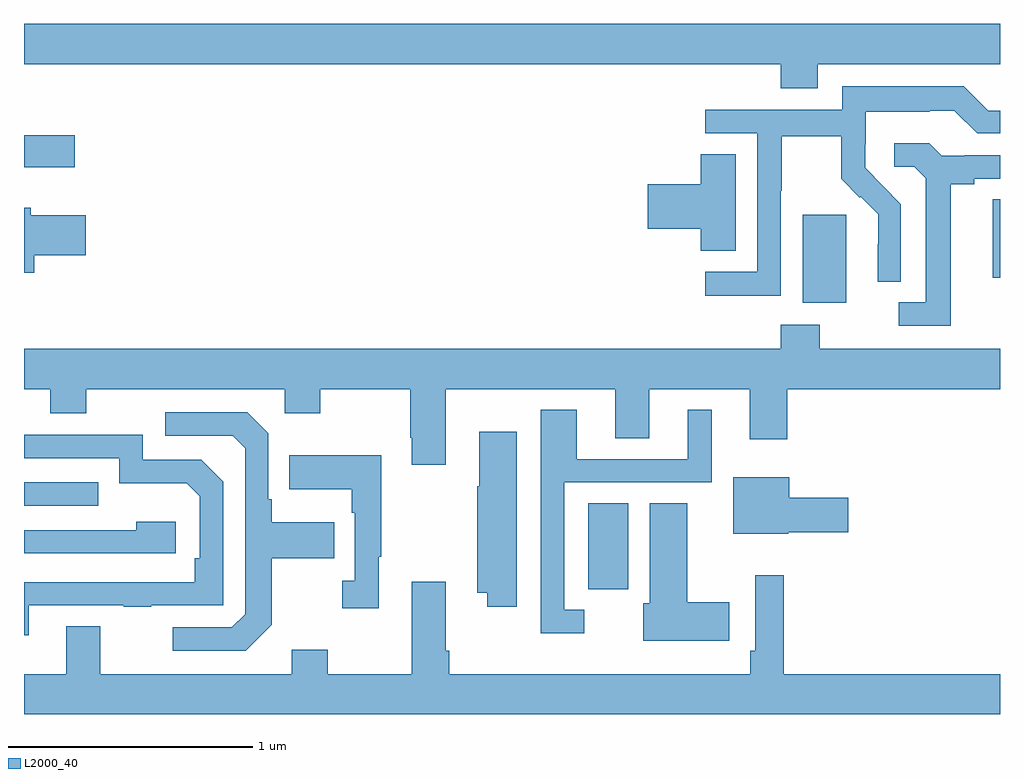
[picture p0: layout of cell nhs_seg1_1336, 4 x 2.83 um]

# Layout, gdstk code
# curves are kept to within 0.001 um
import gdstk
lib = gdstk.Library(unit=1e-6, precision=1e-09)
def R(c, l, rs):  # rectangles x0, y0, x1, y1
    for r in rs: c.add(gdstk.rectangle(r[:2], r[2:], *l))
def P(c, l, *ps):  # polygons
    for p in ps: c.add(gdstk.Polygon(p, *l))
L2000_40 = (2000, 40)

nhs_seg1_1336 = lib.new_cell('nhs_seg1_1336')
R(nhs_seg1_1336, L2000_40, [(185.312,562.899,185.476,563.252), (183,563.241,183.305,563.337), (186.191,564.074,186.37,564.435), (186.971,564.177,187,564.497), (183,564.629,183.208,564.759)])
P(nhs_seg1_1336, L2000_40, [(186.253,565.052),(187,565.052),(187,565.216),(183,565.216),(183,565.052),(186.101,565.052),(186.101,564.953),(186.253,564.953)],
  [(186.102,564.532),(186.105,564.532),(186.105,564.756),(186.349,564.756),(186.349,564.581),(186.426,564.504),(186.429,564.507),(186.5,564.437),(186.5,564.314),(186.498,564.314),(186.498,564.16),(186.594,564.16),(186.594,564.478),(186.448,564.626),(186.448,564.723),(186.45,564.723),(186.45,564.857),(186.713,564.857),(186.713,564.861),(186.813,564.861),(186.906,564.768),(187,564.768),(187,564.861),(186.951,564.861),(186.851,564.961),(186.354,564.961),(186.354,564.864),(185.793,564.864),(185.793,564.768),(186.006,564.768),(186.006,564.201),(185.793,564.201),(185.793,564.103),(186.102,564.103)],
  [(186.799,564.56),(186.895,564.56),(186.895,564.582),(187,564.582),(187,564.678),(186.856,564.678),(186.856,564.675),(186.762,564.675),(186.71,564.727),(186.567,564.727),(186.567,564.63),(186.648,564.63),(186.695,564.583),(186.695,564.075),(186.585,564.075),(186.585,563.979),(186.799,563.979)],
  [(185.917,564.683),(185.774,564.683),(185.774,564.56),(185.556,564.56),(185.556,564.377),(185.774,564.377),(185.774,564.286),(185.917,564.286)],
  [(183.041,564.268),(183.253,564.268),(183.253,564.433),(183.028,564.433),(183.028,564.463),(183,564.463),(183,564.197),(183.041,564.197)],
  [(184.729,563.72),(185.423,563.72),(185.423,563.518),(185.563,563.518),(185.563,563.72),(185.975,563.72),(185.975,563.514),(186.128,563.514),(186.128,563.72),(187,563.72),(187,563.884),(186.261,563.884),(186.261,563.983),(186.101,563.983),(186.101,563.884),(183,563.884),(183,563.72),(183.107,563.72),(183.107,563.621),(183.255,563.621),(183.255,563.72),(184.068,563.72),(184.068,563.621),(184.215,563.621),(184.215,563.72),(184.582,563.72),(184.582,563.521),(184.589,563.521),(184.589,563.409),(184.729,563.409)],
  [(185.296,562.815),(185.214,562.815),(185.214,563.337),(185.818,563.337),(185.818,563.635),(185.72,563.635),(185.72,563.433),(185.266,563.433),(185.266,563.635),(185.118,563.635),(185.118,562.718),(185.296,562.718)],
  [(184.015,562.753),(184.015,563.026),(184.271,563.026),(184.271,563.173),(184.015,563.173),(184.015,563.269),(184.002,563.269),(184.002,563.538),(183.915,563.625),(183.579,563.625),(183.579,563.529),(183.855,563.529),(183.906,563.478),(183.906,562.797),(183.852,562.743),(183.609,562.743),(183.609,562.647),(183.909,562.647)],
  [(185.02,563.545),(184.865,563.545),(184.865,563.321),(184.858,563.321),(184.858,562.886),(184.898,562.886),(184.898,562.827),(185.02,562.827)],
  [(183.019,562.833),(183.409,562.833),(183.409,562.828),(183.521,562.828),(183.521,562.833),(183.816,562.833),(183.816,563.34),(183.726,563.43),(183.486,563.43),(183.486,563.532),(183,563.532),(183,563.436),(183.39,563.436),(183.39,563.333),(183.667,563.333),(183.72,563.28),(183.72,563.026),(183.7,563.026),(183.7,562.929),(183,562.928),(183,562.71),(183.019,562.71)],
  [(184.453,563.033),(184.465,563.033),(184.465,563.449),(184.087,563.449),(184.087,563.309),(184.344,563.309),(184.344,563.213),(184.356,563.213),(184.356,562.934),(184.305,562.934),(184.305,562.821),(184.453,562.821)],
  [(186.132,563.132),(186.379,563.132),(186.379,563.274),(186.136,563.274),(186.136,563.359),(185.906,563.359),(185.906,563.126),(186.132,563.126)],
  [(185.89,562.846),(185.719,562.846),(185.719,563.252),(185.564,563.252),(185.564,562.842),(185.537,562.842),(185.537,562.688),(185.89,562.688)],
  [(183.622,563.176),(183.461,563.176),(183.461,563.142),(183,563.142),(183,563.046),(183.622,563.046)],
  [(187,562.552),(186.113,562.552),(186.113,562.957),(185.997,562.957),(185.997,562.648),(185.977,562.648),(185.977,562.552),(184.742,562.552),(184.742,562.648),(184.729,562.648),(184.729,562.93),(184.589,562.93),(184.589,562.552),(184.245,562.552),(184.245,562.651),(184.097,562.651),(184.097,562.552),(183.313,562.552),(183.313,562.747),(183.173,562.747),(183.173,562.552),(183,562.552),(183,562.388),(187,562.388)])

lib.write_gds('nhs_seg1_1336.gds')
